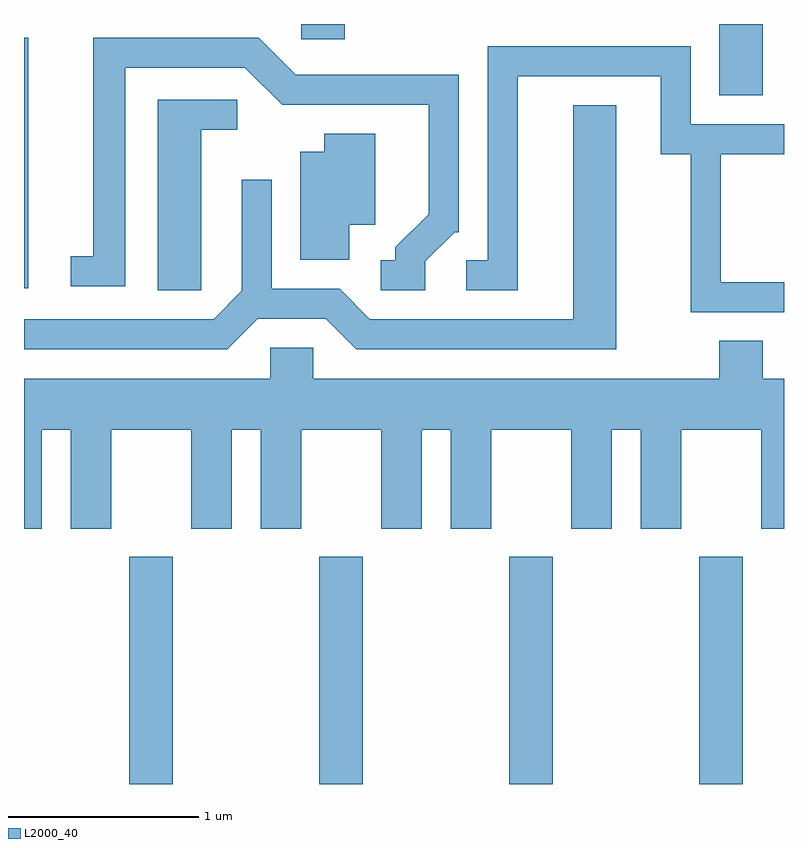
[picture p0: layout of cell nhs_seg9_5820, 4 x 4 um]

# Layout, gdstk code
import gdstk
lib = gdstk.Library(unit=1e-6, precision=1e-09)
def R(c, l, rs):  # rectangles x0, y0, x1, y1
    for r in rs: c.add(gdstk.rectangle(r[:2], r[2:], *l))
def A(c, l, x, y, w, h, nx, ny, dx, dy):  # array of equal rectangles
    R(c, l, [(x+i*dx, y+j*dy, x+i*dx+w, y+j*dy+h) for i in range(nx) for j in range(ny)])
def P(c, l, *ps):  # polygons
    for p in ps: c.add(gdstk.Polygon(p, *l))
L2000_40 = (2000, 40)

nhs_seg9_5820 = lib.new_cell('nhs_seg9_5820')
A(nhs_seg9_5820, L2000_40, 358.166, 1954.432, 0.228, 1.197, 4, 1, 1, 0)
R(nhs_seg9_5820, L2000_40, [(357.611,1957.041,357.634,1958.359), (361.271,1958.056,361.499,1958.432), (359.071,1958.351,359.299,1958.432)])
P(nhs_seg9_5820, L2000_40, [(359.724,1957.184),(359.877,1957.336),(359.899,1957.336),(359.899,1958.164),(359.042,1958.164),(358.847,1958.359),(357.976,1958.359),(357.976,1957.209),(357.858,1957.209),(357.858,1957.051),(358.144,1957.051),(358.144,1958.201),(358.774,1958.201),(358.969,1958.006),(359.741,1958.006),(359.741,1957.432),(359.566,1957.257),(359.566,1957.189),(359.488,1957.189),(359.488,1957.031),(359.724,1957.031)],
  [(361.611,1957.074),(361.279,1957.074),(361.279,1957.746),(361.611,1957.746),(361.611,1957.904),(361.119,1957.904),(361.119,1958.314),(360.051,1958.314),(360.051,1957.189),(359.938,1957.189),(359.938,1957.031),(360.209,1957.031),(360.209,1958.156),(360.961,1958.156),(360.961,1957.746),(361.121,1957.746),(361.121,1956.916),(361.611,1956.916)],
  [(358.544,1957.876),(358.733,1957.876),(358.733,1958.034),(358.316,1958.034),(358.316,1957.031),(358.544,1957.031)],
  [(358.842,1956.881),(359.199,1956.881),(359.359,1956.721),(360.729,1956.721),(360.729,1958.004),(360.501,1958.004),(360.501,1956.879),(359.432,1956.879),(359.272,1957.039),(358.914,1957.039),(358.914,1957.613),(358.756,1957.613),(358.756,1957.027),(358.609,1956.879),(357.611,1956.879),(357.611,1956.721),(358.682,1956.721)],
  [(359.324,1957.376),(359.459,1957.376),(359.459,1957.854),(359.191,1957.854),(359.191,1957.759),(359.066,1957.759),(359.066,1957.191),(359.324,1957.191)],
  [(357.704,1956.296),(357.856,1956.296),(357.856,1955.776),(358.069,1955.776),(358.069,1956.296),(358.491,1956.296),(358.491,1955.776),(358.704,1955.776),(358.704,1956.296),(358.856,1956.296),(358.856,1955.776),(359.069,1955.776),(359.069,1956.296),(359.491,1956.296),(359.491,1955.776),(359.704,1955.776),(359.704,1956.296),(359.856,1956.296),(359.856,1955.776),(360.069,1955.776),(360.069,1956.296),(360.491,1956.296),(360.491,1955.776),(360.704,1955.776),(360.704,1956.296),(360.856,1956.296),(360.856,1955.776),(361.069,1955.776),(361.069,1956.296),(361.491,1956.296),(361.491,1955.776),(361.611,1955.776),(361.611,1956.564),(361.499,1956.564),(361.499,1956.764),(361.271,1956.764),(361.271,1956.564),(359.134,1956.564),(359.134,1956.729),(358.906,1956.729),(358.906,1956.564),(357.611,1956.564),(357.611,1955.776),(357.704,1955.776)])

lib.write_gds('nhs_seg9_5820.gds')
